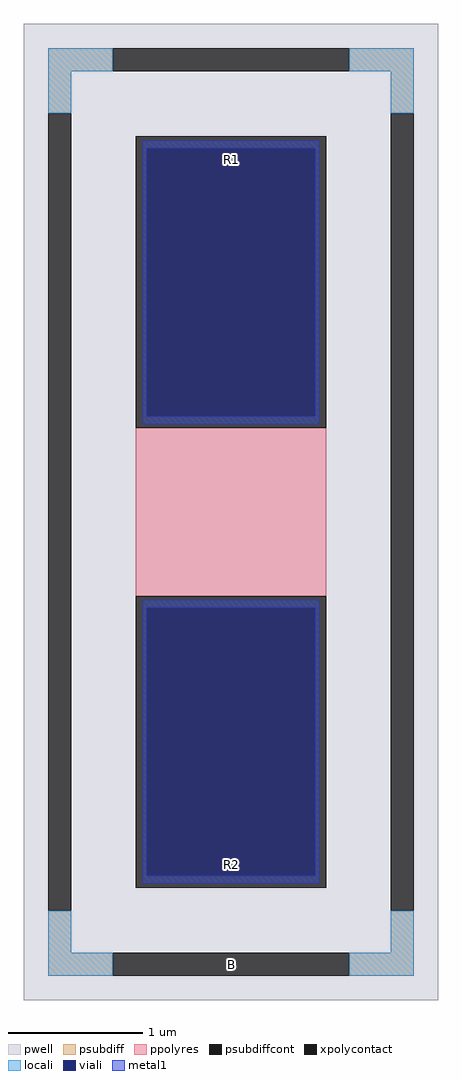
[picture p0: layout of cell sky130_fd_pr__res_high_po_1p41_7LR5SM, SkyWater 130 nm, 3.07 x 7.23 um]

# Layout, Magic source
magic
tech sky130A
magscale 1 2
<< pwell >>
rect -307 -723 307 723
<< psubdiff >>
rect -271 653 -175 687
rect 175 653 271 687
rect -271 591 -237 653
rect 237 591 271 653
rect -271 -653 -237 -591
rect 237 -653 271 -591
rect -271 -687 -175 -653
rect 175 -687 271 -653
<< psubdiffcont >>
rect -175 653 175 687
rect -271 -591 -237 591
rect 237 -591 271 591
rect -175 -687 175 -653
<< xpolycontact >>
rect -141 125 141 557
rect -141 -557 141 -125
<< ppolyres >>
rect -141 -125 141 125
<< locali >>
rect -271 653 -175 687
rect 175 653 271 687
rect -271 591 -237 653
rect 237 591 271 653
rect -271 -653 -237 -591
rect 237 -653 271 -591
rect -271 -687 -175 -653
rect 175 -687 271 -653
<< viali >>
rect -125 142 125 539
rect -125 -539 125 -142
<< metal1 >>
rect -131 539 131 551
rect -131 142 -125 539
rect 125 142 131 539
rect -131 130 131 142
rect -131 -142 131 -130
rect -131 -539 -125 -142
rect 125 -539 131 -142
rect -131 -551 131 -539
<< labels >>
rlabel psubdiffcont 0 -670 0 -670 0 B
port 58 nsew
rlabel xpolycontact 0 522 0 522 0 R1
port 59 nsew
rlabel xpolycontact 0 -522 0 -522 0 R2
port 60 nsew
<< properties >>
string FIXED_BBOX -254 -670 254 670
string gencell sky130_fd_pr__res_high_po_1p41
string library sky130
string parameters w 1.410 l 1.41 m 1 nx 1 wmin 1.410 lmin 0.50 class resistor rho 319.8 val 596.14 dummy 0 dw 0.0 term 194.82 sterm 0.0 caplen 0 guard 1 glc 1 grc 1 gtc 1 gbc 1 compatible {sky130_fd_pr__res_high_po_0p35  sky130_fd_pr__res_high_po_0p69 sky130_fd_pr__res_high_po_1p41  sky130_fd_pr__res_high_po_2p85 sky130_fd_pr__res_high_po_5p73} snake 0 full_metal 1 wmax 1.410 n_guard 0 hv_guard 0 vias 1 viagb 0 viagt 0 viagl 0 viagr 0 doports 1 mult 1
<< end >>
